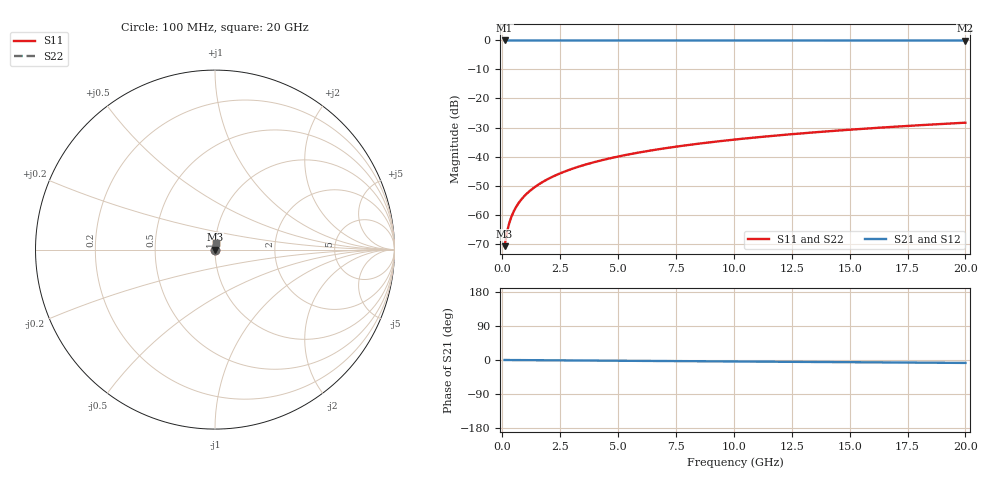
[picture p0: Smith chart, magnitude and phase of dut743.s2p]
! Touchstone file exported from HFSS 2026.1.0
!  File:  C:/ffzhzh/LocalFiles/Ansys_Project_Files/temp_train_TSV_743_1783182850_55132.aedt
!  Generated:  12:35:46 AM Jul  5, 2026
!  Design:  TSV
!  Project:  temp_train_TSV_743_1783182850_55132
! Variables:
!  h_bsmrdl = 2um
!  h_ox = 20um
!  h_rdl = 5um
!  h_sub = 71.02um
!  h_tmrdl = 5um
!  h_tsv = 71.02um
!  h_via = 3um
!  l_bsmrdl = 300um
!  l_sub = 415.7um
!  l_tmrdl = 200um
!  m_sub = 200um
!  pitch = 45.66um
!  r_tsv = 7.85um
!  s_tmrdl = 10um
!  w_bsmrdl = 18um
!  w_sub = 500um
!  w_tmrdl = 12um
!  x_tsv_center1 = 206um
!  x_tsv_center2 = 524um
!  x_tsv_center3 = 736um
!  x_tsv_center4 = 1054um
!  x_tsv_center5 = 1266um
!  x_tsv_center6 = 1584um
# GHz S MA R 50.000000
! Terminal data exported
! Port[1] = TSV1_1_T1
! Port[2] = TSV1_1_T2
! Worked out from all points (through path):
!   200 points, 100 MHz to 20 GHz, reference 50 ohm
!   highest |S21| = 0.00 dB at 100 MHz (marker M1); lowest = 0.0 dB at 20 GHz (marker M2)
!   group delay of S21, straight-line fit = 1.07 ps
!   lowest |S11| = -70.9 dB at 100 MHz (marker M3), VSWR 1.00, Z = 50 + j0.0231 ohm
!   |S11| at or under -10 dB: start of sweep to end of sweep
!   |S22| runs from -70.9 to -28.3 dB; largest |S21 - S12| = 2e-15
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0.1  0.0002856 54.1  0.9998 -0.0  0.9998 -0.0  0.0002856 54.1
! Gamma 0 0 0 0
! Port Impedance 50 0 50 0
0.2  0.0004936 68.9  0.9998 -0.1  0.9998 -0.1  0.0004936 68.9
0.3  0.0007128 74.3  0.9998 -0.1  0.9998 -0.1  0.0007128 74.3
0.4  0.0009317 76.8  0.9998 -0.2  0.9998 -0.2  0.0009317 76.8
0.5  0.001148 78.2  0.9998 -0.2  0.9998 -0.2  0.001148 78.2
0.6  0.00136 79.1  0.9997 -0.2  0.9997 -0.2  0.00136 79.1
0.7  0.001568 79.8  0.9997 -0.3  0.9997 -0.3  0.001568 79.8
0.8  0.001774 80.2  0.9997 -0.3  0.9997 -0.3  0.001774 80.2
1  0.002179 81.0  0.9997 -0.4  0.9997 -0.4  0.002179 81.0
1.4  0.002973 82.1  0.9996 -0.6  0.9996 -0.6  0.002973 82.1
1.7  0.003563 82.6  0.9996 -0.7  0.9996 -0.7  0.003563 82.6
2  0.004153 83.1  0.9995 -0.8  0.9995 -0.8  0.004153 83.1
2.7  0.005525 83.7  0.9995 -1.1  0.9995 -1.1  0.005525 83.7
3.5  0.007088 84.1  0.9994 -1.4  0.9994 -1.4  0.007088 84.1
4.2  0.008449 84.2  0.9993 -1.6  0.9993 -1.6  0.008449 84.2
5  0.009996 84.2  0.9993 -1.9  0.9993 -1.9  0.009996 84.2
6.8  0.01345 84.0  0.9991 -2.6  0.9991 -2.6  0.01345 84.0
8.3  0.01631 83.7  0.999 -3.2  0.999 -3.2  0.01631 83.7
10.1  0.01973 83.3  0.9988 -3.9  0.9988 -3.9  0.01973 83.3
13.4  0.02597 82.4  0.9986 -5.2  0.9986 -5.2  0.02597 82.4
16.7  0.03217 81.4  0.9982 -6.4  0.9982 -6.4  0.03217 81.4
20  0.03832 80.3  0.9979 -7.7  0.9979 -7.7  0.03832 80.3
